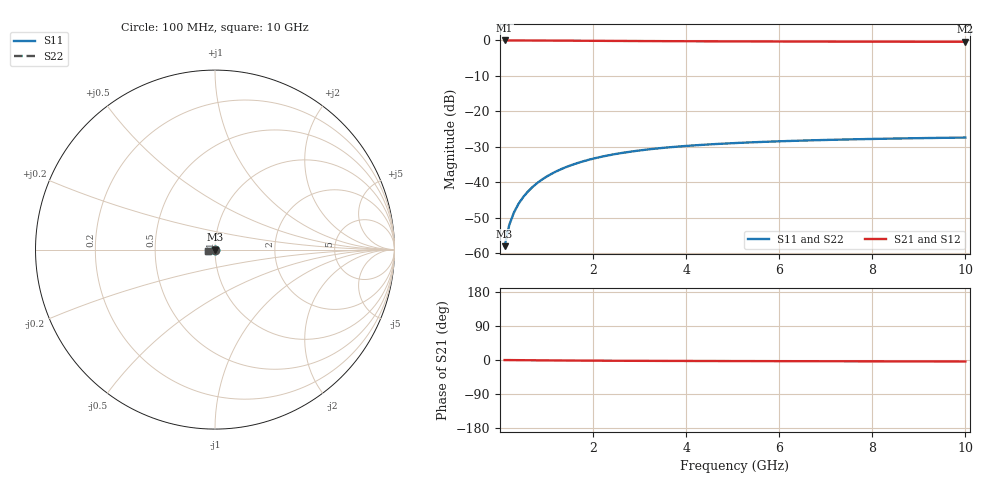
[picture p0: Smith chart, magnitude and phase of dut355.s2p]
! Touchstone file exported from HFSS 2024.1.0
!  File:  C:/UserFiles/LocalFiles/RDL_TSV_Batchsim/temp_TSV1_355_1779620403.aedt
!  Generated:  07:05:14 PM May 24, 2026
!  Design:  TSV1
!  Project:  temp_TSV1_355_1779620403
!  Setup:  Setup1
!  Solution:  Sweep
! Variables:
!  dtsv = 13.84um
!  hbump = 3um
!  htsv = 58.15um
!  lrdl = 252.1521522um
!  p = 40
!  p1 = 51.12um
!  t = 500um
!  trdl = 3um
!  wrdl = 24.89489489um
# GHz S MA R 50.000000
! Terminal data exported
! Port[1] = TSV22_T1
! Port[2] = TSV22_T2
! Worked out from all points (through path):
!   100 points, 100 MHz to 10 GHz, reference 50 ohm
!   highest |S21| = 0.00 dB at 100 MHz (marker M1); lowest = -0.4 dB at 10 GHz (marker M2)
!   lowest |S11| = -58.1 dB at 100 MHz (marker M3), VSWR 1.00, Z = 50 - j0.125 ohm
!   |S11| at or under -10 dB: start of sweep to end of sweep
!   |S22| runs from -58.1 to -27.4 dB; largest |S21 - S12| = 5e-15
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0.1  0.001247 -88.5  0.9999 -0.1  0.9999 -0.1  0.001247 -88.5
! Gamma 0 0 0 0
! Port Impedance 50 0 50 0
0.2  0.002487 -91.9  0.9998 -0.2  0.9998 -0.2  0.002487 -91.9
0.3  0.003721 -94.2  0.9996 -0.3  0.9996 -0.3  0.003721 -94.2
0.4  0.004946 -96.2  0.9993 -0.4  0.9993 -0.4  0.004946 -96.2
0.5  0.006159 -98.1  0.9989 -0.5  0.9989 -0.5  0.006159 -98.1
0.6  0.007355 -100.0  0.9985 -0.6  0.9985 -0.6  0.007355 -100.0
0.7  0.008534 -101.8  0.998 -0.7  0.998 -0.7  0.008534 -101.8
0.8  0.009692 -103.5  0.9975 -0.8  0.9975 -0.8  0.009692 -103.5
0.9  0.01083 -105.2  0.9969 -0.9  0.9969 -0.9  0.01083 -105.2
1.1  0.01302 -108.5  0.9956 -1.1  0.9956 -1.1  0.01302 -108.5
1.4  0.0161 -113.1  0.9933 -1.3  0.9933 -1.3  0.0161 -113.1
1.6  0.018 -116.1  0.9918 -1.5  0.9918 -1.5  0.018 -116.1
1.8  0.01977 -118.8  0.9902 -1.6  0.9902 -1.6  0.01977 -118.8
2.1  0.0222 -122.7  0.9878 -1.8  0.9878 -1.8  0.0222 -122.7
2.5  0.02503 -127.5  0.9846 -2.0  0.9846 -2.0  0.02503 -127.5
2.9  0.02744 -131.6  0.9817 -2.2  0.9817 -2.2  0.02744 -131.6
3.4  0.02996 -136.3  0.9783 -2.4  0.9783 -2.4  0.02996 -136.3
4.2  0.0331 -142.4  0.9737 -2.6  0.9737 -2.6  0.0331 -142.4
5.1  0.03572 -148.0  0.9695 -2.8  0.9695 -2.8  0.03572 -148.0
6.7  0.03891 -155.6  0.9642 -3.2  0.9642 -3.2  0.03891 -155.6
8.4  0.04114 -161.9  0.9604 -3.6  0.9604 -3.6  0.04114 -161.9
10  0.04258 -166.7  0.9579 -4.0  0.9579 -4.0  0.04258 -166.7
